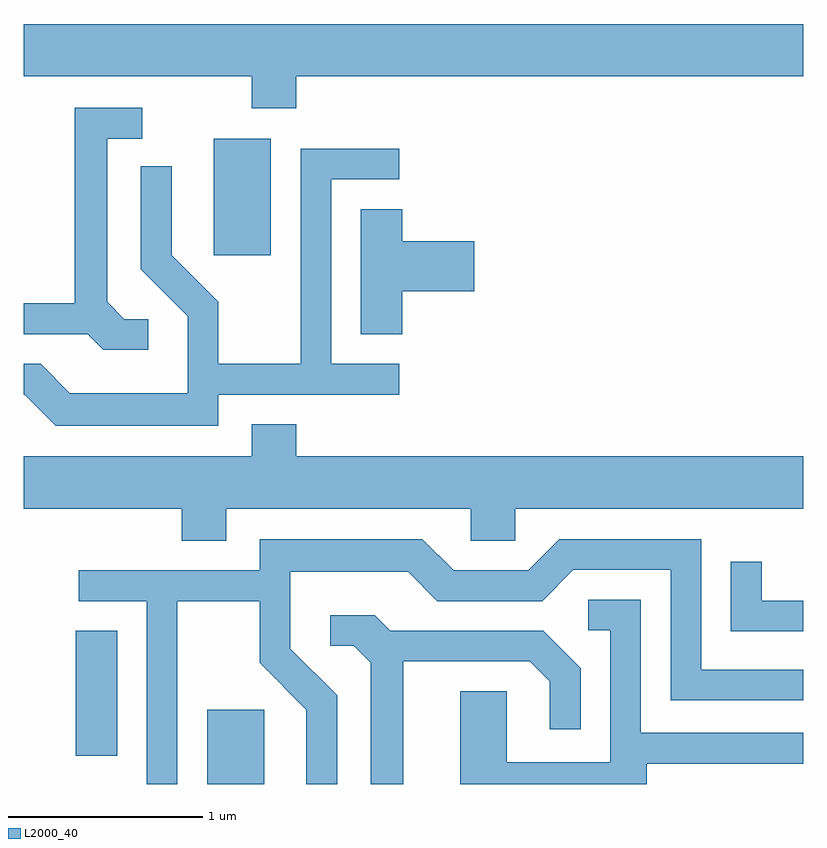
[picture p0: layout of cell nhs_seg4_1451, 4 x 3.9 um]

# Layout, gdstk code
import gdstk
lib = gdstk.Library(unit=1e-6, precision=1e-09)
def R(c, l, rs):  # rectangles x0, y0, x1, y1
    for r in rs: c.add(gdstk.rectangle(r[:2], r[2:], *l))
def P(c, l, *ps):  # polygons
    for p in ps: c.add(gdstk.Polygon(p, *l))
L2000_40 = (2000, 40)

nhs_seg4_1451 = lib.new_cell('nhs_seg4_1451')
R(nhs_seg4_1451, L2000_40, [(228.551,1299.982,228.844,1300.364), (227.876,1300.126,228.089,1300.769), (228.586,1302.696,228.879,1303.294)])
P(nhs_seg4_1451, L2000_40, [(229.009,1303.616),(231.611,1303.616),(231.611,1303.884),(227.611,1303.884),(227.611,1303.616),(228.781,1303.616),(228.781,1303.451),(229.009,1303.451)],
  [(228.248,1302.369),(228.127,1302.369),(228.039,1302.457),(228.039,1303.296),(228.218,1303.296),(228.218,1303.454),(227.871,1303.454),(227.871,1302.449),(227.611,1302.449),(227.611,1302.291),(227.939,1302.291),(228.019,1302.211),(228.248,1302.211)],
  [(228.609,1301.981),(229.538,1301.981),(229.538,1302.139),(229.189,1302.139),(229.189,1303.086),(229.538,1303.086),(229.538,1303.244),(229.031,1303.244),(229.031,1302.139),(228.609,1302.139),(228.609,1302.457),(228.369,1302.697),(228.369,1303.153),(228.211,1303.153),(228.211,1302.624),(228.451,1302.384),(228.451,1301.989),(227.847,1301.989),(227.697,1302.139),(227.611,1302.139),(227.611,1301.981),(227.614,1301.981),(227.774,1301.821),(228.609,1301.821)],
  [(229.554,1302.511),(229.924,1302.511),(229.924,1302.769),(229.554,1302.769),(229.554,1302.934),(229.341,1302.934),(229.341,1302.291),(229.554,1302.291)],
  [(228.649,1301.396),(229.906,1301.396),(229.906,1301.231),(230.134,1301.231),(230.134,1301.396),(231.611,1301.396),(231.611,1301.664),(229.009,1301.664),(229.009,1301.829),(228.781,1301.829),(228.781,1301.664),(227.611,1301.664),(227.611,1301.396),(228.421,1301.396),(228.421,1301.231),(228.649,1301.231)],
  [(228.399,1300.921),(228.821,1300.921),(228.821,1300.604),(229.061,1300.364),(229.061,1299.982),(229.219,1299.982),(229.219,1300.437),(228.979,1300.677),(228.979,1301.071),(229.584,1301.071),(229.734,1300.921),(230.272,1300.921),(230.432,1301.081),(230.931,1301.081),(230.931,1300.411),(231.611,1300.411),(231.611,1300.569),(231.089,1300.569),(231.089,1301.239),(230.359,1301.239),(230.199,1301.079),(229.817,1301.079),(229.657,1301.239),(228.821,1301.239),(228.821,1301.079),(227.893,1301.079),(227.893,1300.921),(228.241,1300.921),(228.241,1299.982),(228.399,1299.982)],
  [(231.611,1300.924),(231.399,1300.924),(231.399,1301.123),(231.241,1301.123),(231.241,1300.766),(231.611,1300.766)],
  [(230.809,1300.086),(231.611,1300.086),(231.611,1300.244),(230.779,1300.244),(230.779,1300.929),(230.508,1300.929),(230.508,1300.771),(230.621,1300.771),(230.621,1300.094),(230.089,1300.094),(230.089,1300.459),(229.851,1300.459),(229.851,1299.982),(230.809,1299.982)],
  [(229.559,1300.611),(230.209,1300.611),(230.311,1300.509),(230.311,1300.263),(230.469,1300.263),(230.469,1300.577),(230.277,1300.769),(229.492,1300.769),(229.412,1300.849),(229.183,1300.849),(229.183,1300.691),(229.304,1300.691),(229.391,1300.604),(229.391,1299.982),(229.559,1299.982)])

lib.write_gds('nhs_seg4_1451.gds')
